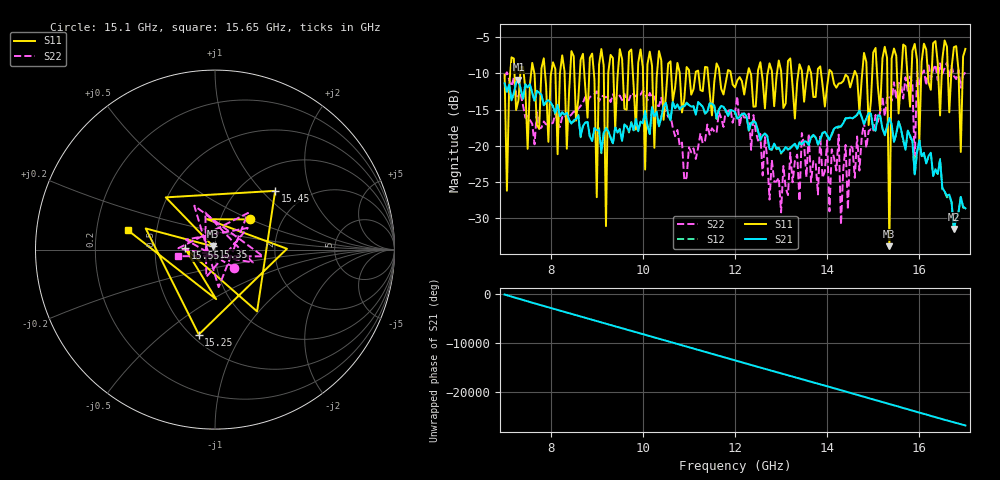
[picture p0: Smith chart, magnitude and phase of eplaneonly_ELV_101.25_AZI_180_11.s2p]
! 10/29/2026 5:11:47 PM
! C:\ANRITSUVNA\TEMP\TEMP.S2P
! CHANNEL.1
! TR.MEASUREMENT
! RAW.DATA
# HZ S RI R 50.0
! FREQ.HZ  S11RE  S11IM  S21RE  S21IM  S12RE  S12IM  S22RE  S22IM
!; PortSelection: Port_12
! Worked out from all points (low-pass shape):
!   201 points, 7 GHz to 17 GHz, reference 50 ohm
!   highest |S21| = -10.89 dB at 7.3 GHz (marker M1); lowest = -31.5 dB at 16.75 GHz (marker M2)
!   |S21| within 3 dB of the highest: start of sweep to 7.833 GHz; 7.901 GHz to 7.979 GHz (78.34 MHz wide, 0.987 % of centre)
!   lowest |S11| = -33.8 dB at 15.35 GHz (marker M3), VSWR 1.04, Z = 49 + j1.74 ohm
!   |S11| at or under -10 dB: start of sweep to 7.121 GHz; 11.91 GHz to 12.28 GHz (369.9 MHz wide, 3.06 % of centre); 14.1 GHz to 14.58 GHz (480 MHz wide, 3.35 % of centre) (the widest 3 of 44)
!   |S22| runs from -30.9 to -8.5 dB; largest |S21 - S12| = 0.086
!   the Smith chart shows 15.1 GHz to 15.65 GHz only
!   S11 on the Smith chart (normalised r, x): 15.1 GHz: 1.38, +0.50; 15.25 GHz: 0.54, -0.67; 15.35 GHz: 0.98, +0.03; 15.45 GHz: 1.42, +1.19; 15.55 GHz: 0.71, +0.01; 15.65 GHz: 0.34, +0.10
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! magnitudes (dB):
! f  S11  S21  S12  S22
! 7 GHz  -10.2  -11.4  -11.4  -10.4
! 7.05 GHz  -26.2  -12.6  -12.6  -9.9
! 7.3 GHz  -13.7  -10.9  -11.0  -13.2
! 8.7 GHz  -7.3  -17.3  -17.3  -14.0
! 9 GHz  -27.1  -17.9  -18.0  -12.5
! 9.15 GHz  -8.9  -18.3  -18.1  -13.2
! 9.2 GHz  -31.1  -17.5  -17.5  -13.3
! 9.3 GHz  -7.5  -18.9  -18.8  -14.0
! 9.95 GHz  -6.7  -16.7  -16.7  -12.9
! 10.05 GHz  -23.3  -15.2  -15.2  -12.8
! 10.35 GHz  -6.9  -17.3  -17.2  -14.5
! 12 GHz  -12.0  -15.3  -15.3  -15.5
! 13.7 GHz  -13.3  -18.5  -18.6  -22.1
! 15.1 GHz  -11.8  -15.8  -15.8  -16.7
! 15.25 GHz  -6.3  -18.5  -18.6  -15.9
! 15.35 GHz  -33.8  -16.2  -16.2  -13.0
! 15.45 GHz  -6.6  -19.5  -19.3  -11.2
! 15.55 GHz  -15.5  -16.6  -16.6  -11.4
! 15.65 GHz  -6.0  -19.1  -19.4  -13.5
! 16.75 GHz  -6.4  -31.5  -31.6  -10.4
! 16.9 GHz  -20.8  -27.0  -27.0  -12.0
! 17 GHz  -6.6  -28.6  -28.6  -9.9
